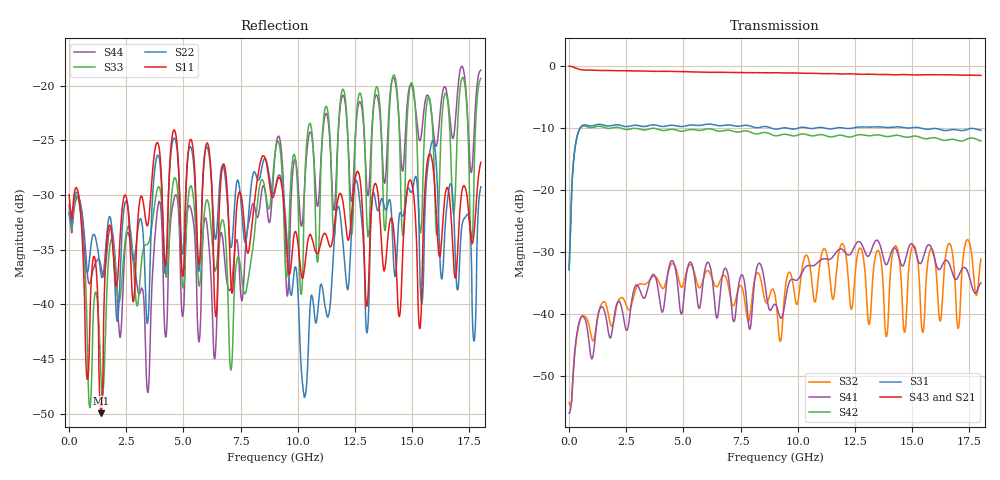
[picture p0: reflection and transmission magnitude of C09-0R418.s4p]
! MARKI MICROWAVE INC.
! Email:  info@markimicrowave.com  Phone:  408-778-4200
! Model Number:  C09-0R418  Date:  02/15
! Filename:		C09_0R418.S4P  Version: 1.0
! Description:  4-port S-parameter data for Directional Coupler C09-0R418
! Frequency Range: 	10 MHz to 18 GHz
! Port Configuration:	PORT 1: Input
!  PORT 2: Output
!  Port 3: Coupled
!  Port 4: Isolated
! S4P File: Measurements: Mag<S11> Ang<S11> Mag<S12> Ang<S12> Mag<S13> Ang<S13> Mag<S14> Ang<S14>! row 1
!  Mag<S21> Ang<S21> Mag<S22> Ang<S22> Mag<S23> Ang<S23> Mag<S24> Ang<S24>! row 2
!  Mag<S31> Ang<S31> Mag<S32> Ang<S32> Mag<S33> Ang<S33> Mag<S34> Ang<S34>! row 3
!  Mag<S41> Ang<S41> Mag<S42> Ang<S42> Mag<S43> Ang<S43> Mag<S44> Ang<S44>! row 4
# Hz S DB R 50
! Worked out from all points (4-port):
!   801 points, 10 MHz to 18 GHz, reference 50 ohm
!   strongest paths, dB at 10 MHz, 4.508 GHz, 9.005 GHz, 13.5 GHz, 18 GHz:
!     S43: -0.1, -0.9, -1.1, -1.4, -1.5
!     S21: -0.1, -1.0, -1.1, -1.4, -1.5
!     S31: -32.8, -9.6, -10.2, -9.8, -10.4
!     S42: -32.9, -10.2, -11.3, -11.1, -12.1
!     S41: -55.9, -31.3, -38.4, -28.2, -35.0
!     S32: -54.2, -31.8, -36.8, -29.7, -31.1
!   lowest |S11| = -49.9 dB at 1.404 GHz (marker M1), VSWR 1.01, Z = 49.7 + j0.129 ohm
!   |S11| at or under -10 dB: start of sweep to end of sweep
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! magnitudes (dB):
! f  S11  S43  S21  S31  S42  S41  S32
! 10 MHz  -30.0  -0.1  -0.1  -32.8  -32.9  -55.9  -54.2
! 392.3 MHz  -29.6  -0.5  -0.5  -10.9  -11.0  -42.3  -42.4
! 1.404 GHz  -49.9  -0.8  -0.8  -9.4  -9.8  -38.8  -38.5
! 4.597 GHz  -24.0  -0.9  -1.0  -9.6  -10.3  -31.9  -32.0
! 9.23 GHz  -28.5  -1.2  -1.2  -10.1  -11.2  -40.5  -44.4
! 10.29 GHz  -36.8  -1.2  -1.2  -9.9  -11.0  -32.6  -30.9
! 18 GHz  -27.0  -1.5  -1.5  -10.4  -12.1  -35.0  -31.1
